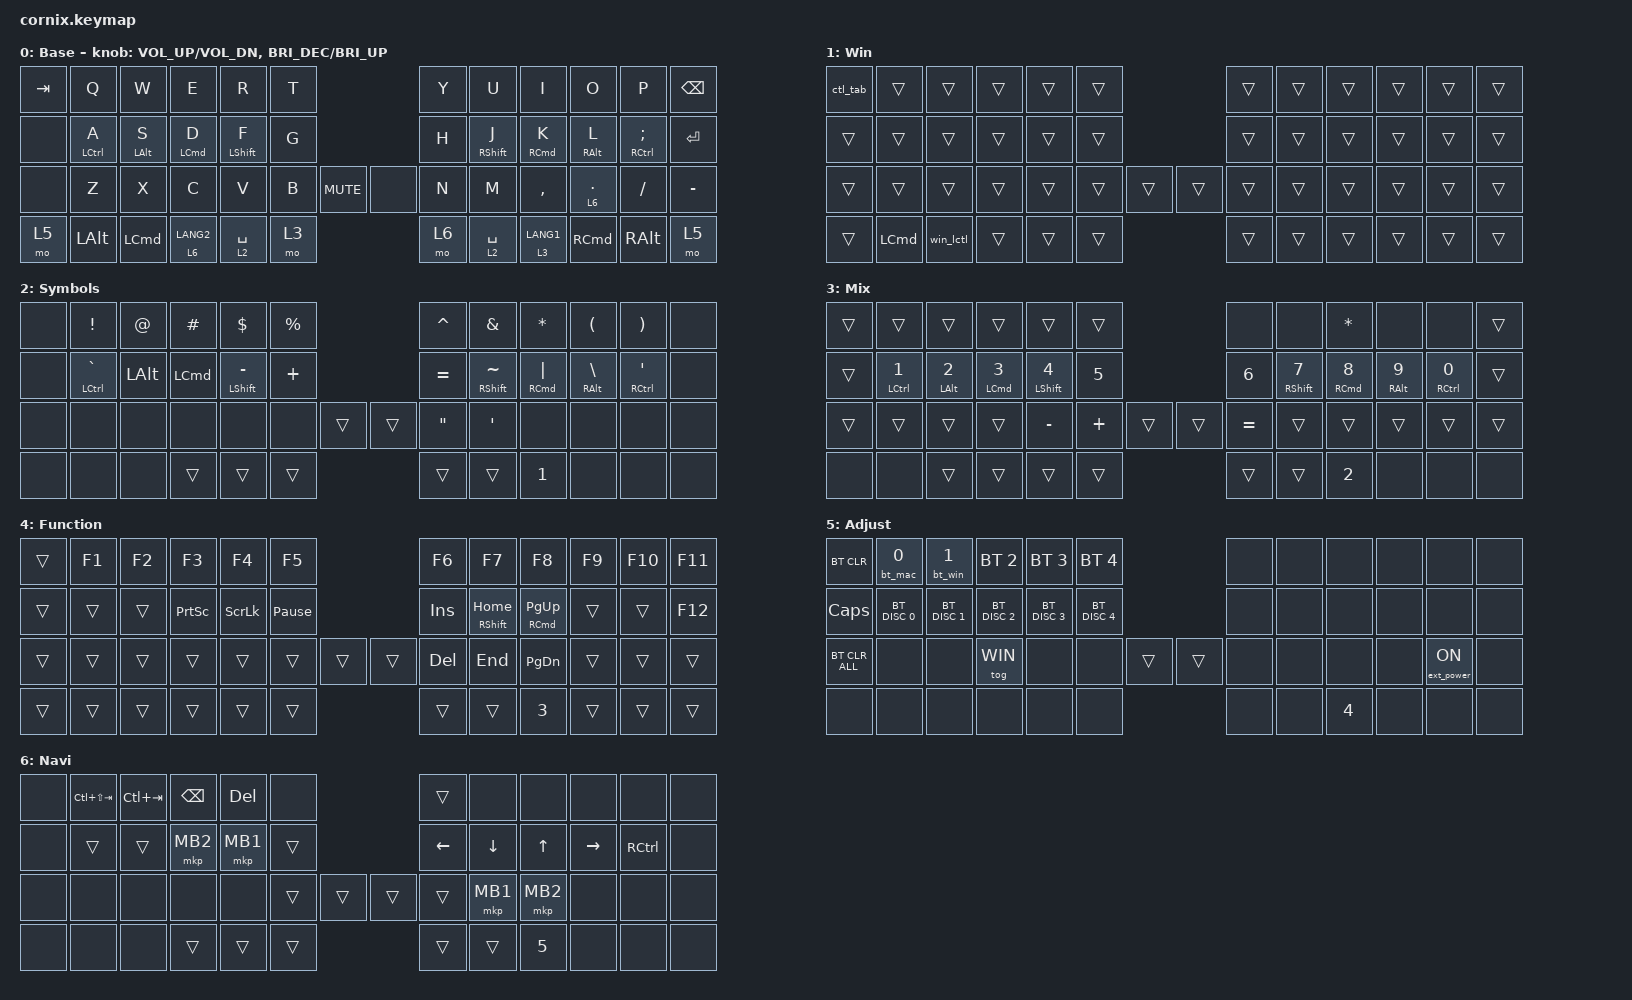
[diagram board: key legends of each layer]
/*
 * Copyright (c) 2020 The ZMK Contributors
 *
 * SPDX-License-Identifier: MIT
 */

#include "zmk-helpers/helper.h"
#include "includes/cornix54.h"

// tap windows for ctl alt and gui

#define HM_TAPPING_TERM 250
#define HM_TAPPING_REPEAT 210

// quick tapping for shift

#define HM_TAPPING_TERM_FAST 200
#define HM_PRIOR_IDLE 70
#define BASE     0
#define WIN      1  // OS overlay: swaps CTRL <-> GUI on the base layer for Windows
#define SYMBOL   2
#define NUM      3
#define FUNCTION 4
#define ADJUST   5
#define NAVI     6

// https://github.com/urob/zmk-config/tree/main#timeless-homerow-mods

#define KEYS_L LT0 LT1 LT2 LT3 LT4 LT5 LM0 LM1 LM2 LM3 LM4 LM5 LB0 LB1 LB2 LB3 LB4 LB5  // left hand
#define KEYS_R RT0 RT1 RT2 RT3 RT4 RT5 RM0 RM1 RM2 RM3 RM4 RM5 RB0 RB1 RB2 RB3 RB4 RB5  // right hand
#define THUMBS LH1 LH0 RH0 RH1
#define KEYS_T LH1 LH0 RH0 RH1
#define ZMK_POINTING_DEFAULT_SCRL_VAL 15

#include <behaviors.dtsi>
#include <dt-bindings/zmk/bt.h>
#include <dt-bindings/zmk/ext_power.h>
#include <dt-bindings/zmk/keys.h>
#include <dt-bindings/zmk/pointing.h>

/ {
    // Activate ADJUST layer by pressing raise and lower

    behaviors {
        // Deterministic (non-flipping) variants of &tog, so the OS layer state
        // always matches the profile that was selected.

        tog_on: toggle_layer_on {
            compatible = "zmk,behavior-toggle-layer";
            #binding-cells = <1>;
            toggle-mode = "on";
        };

        tog_off: toggle_layer_off {
            compatible = "zmk,behavior-toggle-layer";
            #binding-cells = <1>;
            toggle-mode = "off";
        };

        hm_l: homerow_mods_left {
            compatible = "zmk,behavior-hold-tap";
            #binding-cells = <2>;
            bindings = <&kp>, <&kp>;

            flavor = "balanced";
            tapping-term-ms = <HM_TAPPING_TERM>;
            quick-tap-ms = <200>;                // repeat on tap-into-hold
            require-prior-idle-ms = <HM_PRIOR_IDLE>;
            hold-trigger-key-positions = <KEYS_L KEYS_R KEYS_T>;
            hold-trigger-on-release;
        };

        hm_r: homerow_mods_right {
            compatible = "zmk,behavior-hold-tap";
            #binding-cells = <2>;
            bindings = <&kp>, <&kp>;

            flavor = "balanced";
            tapping-term-ms = <HM_TAPPING_TERM>;
            quick-tap-ms = <200>;
            require-prior-idle-ms = <HM_PRIOR_IDLE>;
            hold-trigger-key-positions = <KEYS_L KEYS_T>;
            hold-trigger-on-release;
        };

        // Positional Homerow mods for shift
        // Use faster tapping term and disable some features that may
        // cause false negatives.

        hm_shift_l: hm_shift_l {
            compatible = "zmk,behavior-hold-tap";
            #binding-cells = <2>;
            bindings = <&kp>, <&kp>;

            //flavor = "balanced";

            flavor = "balanced";
            tapping-term-ms = <HM_TAPPING_TERM_FAST>;
            quick-tap-ms = <200>;
            require-prior-idle-ms = <HM_PRIOR_IDLE>;
            hold-trigger-key-positions = <KEYS_R KEYS_T>;
            hold-trigger-on-release;
        };

        hm_shift_r: hm_shift_r {
            compatible = "zmk,behavior-hold-tap";
            #binding-cells = <2>;
            bindings = <&kp>, <&kp>;

            flavor = "balanced";
            tapping-term-ms = <HM_TAPPING_TERM_FAST>;
            quick-tap-ms = <200>;
            require-prior-idle-ms = <HM_PRIOR_IDLE>;
            hold-trigger-key-positions = <KEYS_L KEYS_T>;

            // for quick tapping; shift+~

            hold-trigger-on-release;
        };

        /*
         * Non-Positional Homerow Mods
         * Used for &mm_grescm_gui behavior on left hand.
         *
         * Usage: &hm LSHFT T
         * Tap: T
         * Tap-Tap-Hold: Repeat T
         * Hold: LSHIFT
         */

        hm: homerow_mods {
            compatible = "zmk,behavior-hold-tap";
            #binding-cells = <2>;
            bindings = <&kp>, <&kp>;

            flavor = "balanced";
            tapping-term-ms = <HM_TAPPING_TERM>;
            quick-tap-ms = <200>;
        };

        hm_lt: homerow_mods_layer_tap {
            compatible = "zmk,behavior-hold-tap";
            #binding-cells = <2>;
            bindings = <&mo>, <&kp>;

            flavor = "balanced";
            tapping-term-ms = <HM_TAPPING_TERM>;
            quick-tap-ms = <200>;
        };

        mouse_scrl: mouse_wheel_scrl {
            compatible = "zmk,behavior-sensor-rotate-var";
            #sensor-binding-cells = <2>;
            bindings = <&msc>, <&msc>;

            tap-ms = <10>;
        };

        lt: layer_tap {
            compatible = "zmk,behavior-hold-tap";
            #binding-cells = <2>;
            bindings = <&mo>, <&kp>;

            flavor = "hold-preferred";
            tapping-term-ms = <HM_TAPPING_TERM>;
            quick-tap-ms = <200>;
        };

        lt_mkp: lt_mkp {
            compatible = "zmk,behavior-hold-tap";
            label = "LT_MKP";
            bindings = <&mo>, <&mkp>;

            #binding-cells = <2>;
            tapping-term-ms = <200>;
        };

        mod_mkp: mod_mkp {
            compatible = "zmk,behavior-hold-tap";
            label = "MOD_MKP";
            bindings = <&kp>, <&mkp>;

            #binding-cells = <2>;
            tapping-term-ms = <200>;
        };

        /*
         * The first press, with CTRL still held, runs &alt_tab, which drops
         * CTRL from the report and holds ALT down. That clears MOD_LCTL from
         * the explicit modifiers this morph tests, so every later press takes
         * the plain &kp TAB branch and lands as ALT+TAB with the ALT that is
         * still held. SHIFT is not listed in mods, so CTRL+SHIFT+TAB cycles
         * backwards.
         *
         * RCTRL is deliberately left out of mods. Only win_lctl releases the
         * held ALT, and it is the only LCTRL that can reach this morph with a
         * left-hand TAB, since the home-row LCTRL on A is positional and
         * resolves as a tap against left-hand keys. Adding RCTRL would let
         * the home-row CTRL on ; press an ALT that nothing then releases.
         */

        ctl_tab: ctrl_tab {
            compatible = "zmk,behavior-mod-morph";
            #binding-cells = <0>;
            bindings = <&kp TAB>, <&alt_tab>;

            mods = <MOD_LCTL>;
        };
    };

    /*
     * Bluetooth profile switching that also selects the OS modifier layout.
     * &bt_mac N -> select profile N and use the Mac layout (GUI = Command)
     * &bt_win N -> select profile N and use the Windows layout (CTRL swapped in)
     */

    macros {
        bt_mac: bt_profile_mac {
            compatible = "zmk,behavior-macro-one-param";
            #binding-cells = <1>;
            label = "BT_MAC";
            bindings = <&macro_param_1to2 &bt BT_SEL MACRO_PLACEHOLDER &tog_off WIN>;
        };

        bt_win: bt_profile_win {
            compatible = "zmk,behavior-macro-one-param";
            #binding-cells = <1>;
            label = "BT_WIN";
            bindings = <&macro_param_1to2 &bt BT_SEL MACRO_PLACEHOLDER &tog_on WIN>;
        };

        /*
         * Hand off from CTRL to a held ALT for app switching. Releasing a
         * modifier that is not held is a guarded no-op in ZMK (it logs and
         * returns), so the unbalanced releases here are safe: &alt_tab
         * releases whichever CTRL was held, and win_lctl releases an ALT that
         * only exists if &alt_tab ran.
         */

        alt_tab: alt_tab_first_press {
            compatible = "zmk,behavior-macro";
            #binding-cells = <0>;
            label = "ALT_TAB";
            wait-ms = <15>;
            tap-ms = <15>;
            bindings =
                <&macro_release>,
                <&kp LCTRL &kp RCTRL>,
                <&macro_press>,
                <&kp LALT>,
                <&macro_tap>,
                <&kp TAB>;
        };

        /*
         * CTRL on the Windows layer's left thumb, and the only thing that
         * releases the ALT &alt_tab holds - that release is what commits the
         * app switcher. Tapping this key therefore also clears an ALT left
         * over from the one path that can strand it: holding A long enough
         * for its home-row LCTRL to resolve against a right-hand key, then
         * pressing TAB.
         */

        win_lctl: win_left_ctrl {
            compatible = "zmk,behavior-macro";
            #binding-cells = <0>;
            label = "WIN_LCTL";
            wait-ms = <0>;
            bindings =
                <&macro_press>,
                <&kp LCTRL>,
                <&macro_pause_for_release>,
                <&macro_release>,
                <&kp LCTRL &kp LALT>;
        };
    };

    conditional_layers {
        compatible = "zmk,conditional-layers";

        function_layer {
            if-layers = <3 2>;
            then-layer = <4>;
        };
    };

    combos {
        compatible = "zmk,combos";

        left_brace {
            bindings = <&kp LEFT_BRACE>;
            timeout-ms = <25>;
            key-positions = <4 3>;
            layers = <0 1>;
        };

        right_brace {
            bindings = <&kp RIGHT_BRACE>;
            timeout-ms = <25>;
            key-positions = <7 8>;
            layers = <0 1>;
        };

        left_parenthesis {
            bindings = <&kp LEFT_PARENTHESIS>;
            timeout-ms = <25>;
            key-positions = <16 17>;
            layers = <0 1>;
        };

        right_parenthesis {
            bindings = <&kp RIGHT_PARENTHESIS>;
            timeout-ms = <25>;
            key-positions = <19 18>;
            layers = <0 1>;
        };

        left_bracket {
            bindings = <&kp LEFT_BRACKET>;
            timeout-ms = <25>;
            key-positions = <28 27>;
            layers = <0 1>;
        };

        right_bracket {
            bindings = <&kp RIGHT_BRACKET>;
            timeout-ms = <20>;
            key-positions = <33 34>;
            layers = <0 1>;
        };

        click {
            bindings = <&mkp MB3>;
            timeout-ms = <30>;
            key-positions = <15 16>;
            layers = <6>;
        };

        esc_2 {
            bindings = <&kp ESCAPE>;
            key-positions = <1 2>;
            timeout-ms = <30>;
            layers = <0 1>;
        };

        tab {
            bindings = <&kp TAB>;
            key-positions = <2 3>;
            timeout-ms = <30>;
            layers = <0 1>;
        };

        middleclick {
            bindings = <&mkp MB3>;
            key-positions = <34 33>;
            layers = <6>;
            timeout-ms = <30>;
        };
    };

    keymap {
        compatible = "zmk,keymap";

        default_layer {
            display-name = "Base";

            // ------------------------------------------------------------------------------------------------------------
            // |   `   |  1  |  2  |  3   |  4   |  5   |                   |  6   |  7    |  8    |  9   |   0   |       |
            // |  ESC  |  Q  |  W  |  E   |  R   |  T   |                   |  Y   |  U    |  I    |  O   |   P   | BKSPC |
            // |  TAB  |  A  |  S  |  D   |  F   |  G   |                   |  H   |  J    |  K    |  L   |   ;   |   '   |
            // | SHIFT |  Z  |  X  |  C   |  V   |  B   |  MUTE  |  |       |  N   |  M    |  ,    |  .   |   /   | SHIFT |
            //               | GUI | ALT  | CTRL | LOWER|  ENTER |  | SPACE | RAISE| CTRL  | ALT   | GUI  |

            bindings = <
&kp TAB  &kp Q          &kp W             &kp E                 &kp R                &kp T                     &kp Y  &kp U                &kp I                  &kp O              &kp P             &kp BACKSPACE
&none    &hm_l LCTRL A  &hm_l LALT S      &hm_l LEFT_COMMAND D  &hm_shift_l LSHFT F  &kp G                     &kp H  &hm_shift_r RSHFT J  &hm_r RIGHT_COMMAND K  &hm_r RALT L       &hm_r RCTRL SEMI  &kp ENTER
&none    &kp Z          &kp X             &kp C                 &kp V                &kp B  &kp C_MUTE  &none  &kp N  &kp M                &kp COMMA              &lt 6 PERIOD       &kp SLASH         &kp MINUS
&mo 5    &kp LEFT_ALT   &kp LEFT_COMMAND  &lt 6 LANG2           &lt 2 SPACE          &mo 3                     &mo 6  &lt 2 SPACE          &lt 3 LANG1            &kp RIGHT_COMMAND  &kp RIGHT_ALT     &mo 5
            >;

            sensor-bindings =
                <&inc_dec_kp C_VOL_UP C_VOL_DN>,
                <&inc_dec_kp C_BRI_DEC C_BRI_UP>;
        };

        win_layer {
            display-name = "Win";

            /*
             * OS overlay for Windows hosts. Everything is &trans and falls
             * through to the base layer; only the CTRL/GUI positions are
             * overridden so that the finger holding Command on macOS holds
             * Control on Windows (and vice versa).
             *
             * This layer sits directly above BASE so every momentary layer
             * (SYMBOL and above) still takes precedence over it.
             *
             * The left thumb is a macro holding CTRL, and TAB morphs while
             * it is down, so CTRL+TAB switches apps the way CMD+TAB does on
             * macOS, with ALT held until the thumb comes up. The right thumb
             * is left alone: base already has GUI there, which is the Windows
             * key on a Windows host. The Navi layer keeps a plain
             * &kp LC(TAB) for cycling browser tabs.
             */

            bindings = <
&ctl_tab  &trans            &trans     &trans  &trans  &trans                  &trans  &trans  &trans  &trans  &trans  &trans
&trans    &trans            &trans     &trans  &trans  &trans                  &trans  &trans  &trans  &trans  &trans  &trans
&trans    &trans            &trans     &trans  &trans  &trans  &trans  &trans  &trans  &trans  &trans  &trans  &trans  &trans
&trans    &kp LEFT_COMMAND  &win_lctl  &trans  &trans  &trans                  &trans  &trans  &trans  &trans  &trans  &trans
            >;
        };

        Symbol_layer {
            display-name = "Symbols";

            // TODO: Some binds are waiting for shifted keycode support.
            // -------------------------------
            // |       |  F1 |  F2 |  F3  |  F4  |  F5  |                   |  F6  |  F7   |  F8   |  F9  |  F10  |  F11  |
            // |   `   |  1  |  2  |  3   |  4   |  5   |                   |  6   |  7    |  8    |  9   |   0   |  F12  |
            // |       |  !  |  @  |  #   |  $   |  %   |                   |  ^   |  &    |  *    |  (   |   )   |   |   |
            // |       |  =  |  -  |  +   |  {   |  }   |        |  |       |  [   |  ]    |  ;    |  :   |   \   |       |
            //               |     |      |      |      |        |  |       |      |       |       |      |

            bindings = <
&none  &kp EXCL           &kp AT    &kp HASH          &kp DLLR                  &kp PRCNT                  &kp CARET          &kp AMPS                  &kp ASTRK                 &kp LPAR              &kp RPAR         &none
&none  &hm_l LCTRL GRAVE  &kp LALT  &kp LEFT_COMMAND  &hm_shift_l LSHIFT MINUS  &kp PLUS                   &kp EQUAL          &hm_shift_l RSHIFT TILDE  &hm_r RIGHT_COMMAND PIPE  &hm_r RALT BACKSLASH  &hm_r RCTRL SQT  &none
&none  &none              &none     &none             &none                     &none      &trans  &trans  &kp DOUBLE_QUOTES  &kp SQT                   &none                     &none                 &none            &none
&none  &none              &none     &trans            &trans                    &trans                     &trans             &trans                    &kp N1                    &none                 &none            &none
            >;
        };

        Num_layer {
            display-name = "Mix";

            // ------------------------------------------------------------------------------------------------------------
            // | BTCLR | BT1  | BT2  |  BT3  |  BT4  |  BT5 |                |      |      |       |      |       |       |
            // |       | INS  | PSCR | GUI   |       |      |                | PGUP |      |   ^   |      |       |       |
            // |       | ALT  | CTRL | SHIFT |       | CAPS |                | PGDN |   <- |   v   |  ->  |  DEL  | BKSPC |
            // |       | UNDO | CUT  | COPY  | PASTE |      |      |  |      |      |      |       |      |       |       |
            //                |      |       |       |      |      |  |      |      |      |       |      |

            bindings = <
&trans  &trans          &trans         &trans                 &trans                 &trans                    &none      &none                  &kp ASTERISK            &none          &none           &trans
&trans  &hm_l LCTRL N1  &hm_l LALT N2  &hm_l LEFT_COMMAND N3  &hm_shift_l LSHIFT N4  &kp N5                    &kp N6     &hm_shift_r RSHIFT N7  &hm_r RIGHT_COMMAND N8  &hm_r RALT N9  &hm_r RCTRL N0  &trans
&trans  &trans          &trans         &trans                 &kp MINUS              &kp PLUS  &trans  &trans  &kp EQUAL  &trans                 &trans                  &trans         &trans          &trans
&none   &none           &trans         &trans                 &trans                 &trans                    &trans     &trans                 &kp N2                  &none          &none           &none
            >;

            label = "Num";
        };

        Function_layer {
            bindings = <
&trans  &kp F1  &kp F2  &kp F3           &kp F4          &kp F5                           &kp F6      &kp F7                   &kp F8                     &kp F9  &kp F10  &kp F11
&trans  &trans  &trans  &kp PRINTSCREEN  &kp SCROLLLOCK  &kp PAUSE_BREAK                  &kp INSERT  &hm_shift_l RSHIFT HOME  &hm_r RIGHT_COMMAND PG_UP  &trans  &trans   &kp F12
&trans  &trans  &trans  &trans           &trans          &trans           &trans  &trans  &kp DEL     &kp END                  &kp PAGE_DOWN              &trans  &trans   &trans
&trans  &trans  &trans  &trans           &trans          &trans                           &trans      &trans                   &kp N3                     &trans  &trans   &trans
            >;

            label = "Function";
        };

        Adjust_layer {
            display-name = "Adjust";

            // ----------------------------------------------------------------------------------------------------------------------------
            // | BTCLR  |  BT1    |  BT2    |   BT3   |   BT4   |   BT5   |                  |      |      |       |      |       |       |
            // | moDEBUG| RGB_HUD | RGB_HUI | RGB_SAD | RGB_SAI | RGB_EFF |                  |      |      |       |      |       |       |
            // | EXTPWR | RGB_BRD | RGB_BRI |         |         |         |                  |      |      |       |      |       |       |
            // |        |         |         |         |         |         | RGB_TOG | |      |      |      |       |      |       |       |
            //                    |         |         |         |         |         | |      |      |      |       |      |
            //
            // Profile 0 also selects the Mac layout, profile 1 the Windows
            // layout. &tog WIN (bottom row, C column) flips the OS layout by
            // hand, which is what the dongle build needs since it never
            // switches profiles.

            bindings = <
&bt BT_CLR      &bt_mac 0      &bt_win 1      &bt BT_SEL 2   &bt BT_SEL 3   &bt BT_SEL 4                   &none  &none  &none   &none  &none             &none
&kp CAPSLOCK    &bt BT_DISC 0  &bt BT_DISC 1  &bt BT_DISC 2  &bt BT_DISC 3  &bt BT_DISC 4                  &none  &none  &none   &none  &none             &none
&bt BT_CLR_ALL  &none          &none          &tog WIN       &none          &none          &trans  &trans  &none  &none  &none   &none  &ext_power EP_ON  &none
&none           &none          &none          &none          &none          &none                          &none  &none  &kp N4  &none  &none             &none
            >;
        };

        Navi_layer {
            display-name = "Navi";
            bindings = <
&none  &kp LC(LS(TAB))  &kp LC(TAB)  &kp BACKSPACE  &kp DELETE  &none                   &trans    &none     &none     &none      &none      &none
&none  &trans           &trans       &mkp MB2       &mkp MB1    &trans                  &kp LEFT  &kp DOWN  &kp UP    &kp RIGHT  &kp RCTRL  &none
&none  &none            &none        &none          &none       &trans  &trans  &trans  &trans    &mkp MB1  &mkp MB2  &none      &none      &none
&none  &none            &none        &trans         &trans      &trans                  &trans    &trans    &kp N5    &none      &none      &none
            >;
        };
    };
};
